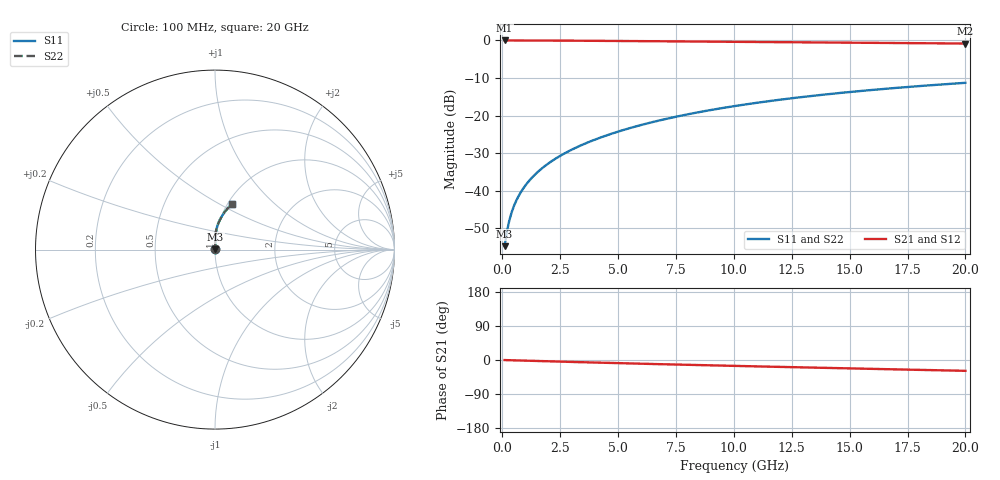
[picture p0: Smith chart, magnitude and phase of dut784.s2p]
! Touchstone file exported from HFSS 2024.1.0
!  File:  C:/UserFiles/LocalFiles/RDL_TSV_Batchsim/temp_RDL_top_784_1779853119.aedt
!  Generated:  11:40:47 AM May 27, 2026
!  Design:  RDL_top
!  Project:  temp_RDL_top_784_1779853119
!  Setup:  Setup1
!  Solution:  Sweep
! Variables:
!  dtsv = 10.80580581um
!  hbump = 3um
!  htsv = 64um
!  ldown = 100um
!  lrdl = 392.73um
!  p = 40
!  p1 = 54.7um
!  rhole = 1um
!  t = 450um
!  tdown = 3.915915916um
!  trdl = 4.88um
!  wdown = 15.38538539um
!  wrdl = 25.04um
# GHz S MA R 50.000000
! Terminal data exported
! Port[1] = Box2_T1
! Port[2] = Box2_T2
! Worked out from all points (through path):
!   200 points, 100 MHz to 20 GHz, reference 50 ohm
!   highest |S21| = -0.01 dB at 100 MHz (marker M1); lowest = -0.8 dB at 20 GHz (marker M2)
!   group delay of S21, straight-line fit = 3.91 ps
!   lowest |S11| = -54.8 dB at 100 MHz (marker M3), VSWR 1.00, Z = 50.1 + j0.126 ohm
!   |S11| at or under -10 dB: start of sweep to end of sweep
!   |S22| runs from -54.8 to -11.3 dB; largest |S21 - S12| = 3.3e-15
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0.1  0.001821 43.8  0.9987 -0.2  0.9987 -0.2  0.001821 43.8
! Gamma 0 0 0 0
! Port Impedance 50 0 50 0
0.2  0.002849 61.1  0.9986 -0.4  0.9986 -0.4  0.002849 61.1
0.3  0.003971 68.5  0.9984 -0.5  0.9984 -0.5  0.003971 68.5
0.4  0.005097 72.6  0.9983 -0.7  0.9983 -0.7  0.005098 72.6
0.5  0.006214 75.2  0.9982 -0.9  0.9982 -0.9  0.006215 75.2
0.7  0.008425 78.6  0.998 -1.2  0.998 -1.2  0.008427 78.6
1  0.01174 81.7  0.9975 -1.7  0.9975 -1.7  0.01174 81.7
1.4  0.01623 84.3  0.9968 -2.4  0.9968 -2.4  0.01623 84.3
1.7  0.01965 85.6  0.9961 -2.9  0.9961 -2.9  0.01965 85.6
2  0.02312 86.6  0.9953 -3.4  0.9953 -3.4  0.02312 86.6
2.7  0.03145 88.1  0.9931 -4.6  0.9931 -4.6  0.03145 88.1
3.5  0.04135 89.0  0.99 -5.9  0.99 -5.9  0.04135 89.0
4.2  0.05036 89.3  0.987 -7.0  0.987 -7.0  0.05036 89.3
5  0.06103 89.3  0.9832 -8.3  0.9832 -8.3  0.06103 89.3
5.9  0.07345 88.9  0.9788 -9.7  0.9788 -9.7  0.07344 88.9
6.8  0.08622 88.2  0.9742 -11.0  0.9742 -11.0  0.08621 88.2
8.4  0.1095 86.4  0.9661 -13.3  0.9661 -13.3  0.1095 86.4
10.1  0.1346 84.1  0.9576 -15.6  0.9576 -15.6  0.1346 84.1
11.7  0.1581 81.7  0.9497 -17.8  0.9497 -17.8  0.1581 81.7
13.4  0.1828 79.2  0.9414 -20.1  0.9414 -20.1  0.1828 79.2
16.7  0.229 74.1  0.9251 -24.4  0.9251 -24.4  0.229 74.1
20  0.2724 69.3  0.9087 -28.6  0.9087 -28.6  0.2724 69.3
